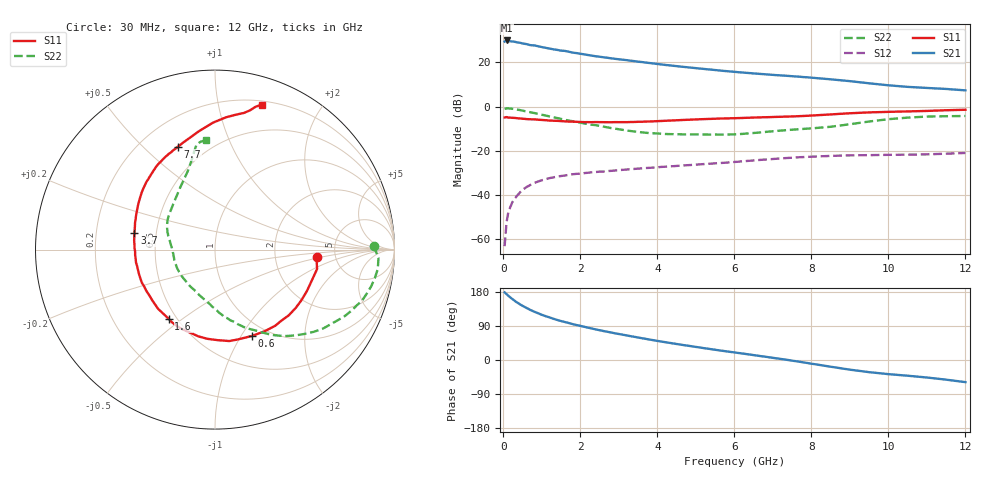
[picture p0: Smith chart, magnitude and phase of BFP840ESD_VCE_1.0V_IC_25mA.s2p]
! Infineon Technologies  Discrete & RF Semiconductors
! BFP840ESD
! VCE =  1.0 V,  IC =  25 mA
! Common Emitter S-Parameters:  May 2012
# GHz  S  MA  R  50
!  f  S11  S21  S12  S22
! GHz  MAG  ANG  MAG  ANG  MAG  ANG  MAG  ANG
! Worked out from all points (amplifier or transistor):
!   93 points, 30 MHz to 12 GHz, reference 50 ohm
!   highest |S21| = 29.9 dB at 80 MHz (marker M1)
!   |S21| within 3 dB of that: start of sweep to 999.5 MHz
!   unconditionally stable (mu >= 1): start of sweep to 72.48 MHz; 3.537 GHz to 10.4 GHz
!   at 1.1 GHz: K = 0.48, MSG = 29.7 dB, |S12| = -32.8 dB
!   at 4.2 GHz: K = 1.07, MAG = 21.4 dB, |S12| = -27.2 dB
!   at 12 GHz: K = 0.79, MSG = 14.1 dB, |S12| = -21.0 dB
!   S11 on the Smith chart (normalised r, x): 30 MHz: 3.56, -0.46; 600 MHz: 0.84, -1.11; 1.6 GHz: 0.45, -0.45; 3.7 GHz: 0.37, +0.09; 7.7 GHz: 0.35, +0.64; 12 GHz: 0.23, +1.35
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0.03  0.5674 -4.4  29.52 178.5  0.0007 59.4  0.8848 1.3
0.08  0.5789 -10.8  31.28 173.8  0.0024 74.8  0.912 -2.9
0.13  0.5659 -17.9  30.11 169.3  0.0043 78.9  0.9134 -6.8
0.23  0.5582 -30.3  29.66 161.0  0.0069 77.2  0.8937 -13.3
0.33  0.5503 -41.8  28.67 153.2  0.0091 72.8  0.8682 -19.0
0.43  0.5408 -51.8  27.77 146.8  0.0115 68.8  0.8348 -23.9
0.6  0.5231 -67.1  25.85 137.4  0.0152 63.3  0.7736 -31.9
0.7  0.5164 -75.8  24.49 132.0  0.017 61.5  0.7453 -36.2
0.8  0.5159 -81.0  24.17 127.5  0.0188 58.8  0.7158 -39.8
1.1  0.492 -101.0  21.29 115.5  0.0229 52.4  0.6255 -50.3
1.3  0.4797 -111.9  19.68 108.7  0.0252 48.6  0.5746 -55.9
1.6  0.4639 -123.8  18.14 100.1  0.0277 44.1  0.5027 -63.5
2.1  0.4461 -145.0  15.17 87.6  0.0314 39.8  0.415 -75.4
2.9  0.446 -170.7  12.03 70.4  0.036 36.5  0.3181 -92.8
3.7  0.4584 168.6  9.892 55.7  0.0409 33.1  0.2561 -114.9
4.1  0.4732 159.2  8.976 48.7  0.0433 32.3  0.2438 -127.2
5.1  0.5178 142.1  7.245 33.0  0.0494 28.8  0.2347 -155.7
6.1  0.5502 130.2  5.999 18.6  0.0568 25.6  0.2389 179.4
7.7  0.6094 109.9  4.728 -4.7  0.0718 14.8  0.3096 148.9
8.5  0.6658 97.7  4.139 -17.7  0.0768 7.8  0.35 130.6
10.5  0.7779 78.1  2.795 -41.5  0.082 -6.9  0.5634 101.7
12  0.8487 72.1  2.328 -58.4  0.0896 -14.0  0.6135 94.6
